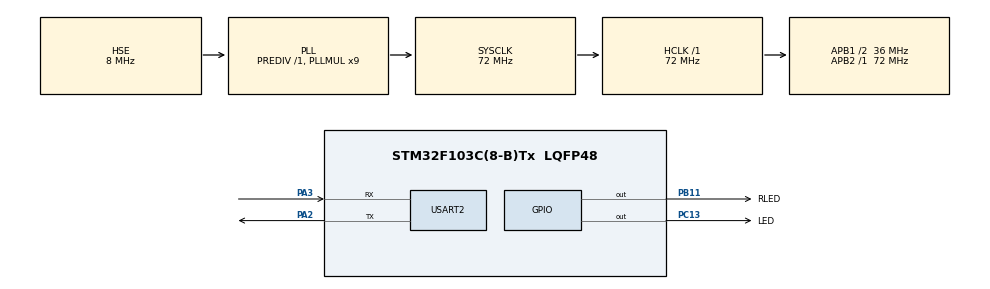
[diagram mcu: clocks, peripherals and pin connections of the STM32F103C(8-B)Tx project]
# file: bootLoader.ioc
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Dma.Request0=USART2_RX
Dma.USART2_RX.0.Direction=DMA_PERIPH_TO_MEMORY
Dma.USART2_RX.0.Instance=DMA1_Channel6
Dma.USART2_RX.0.MemDataAlignment=DMA_MDATAALIGN_BYTE
Dma.USART2_RX.0.MemInc=DMA_MINC_ENABLE
Dma.USART2_RX.0.Mode=DMA_NORMAL
Dma.USART2_RX.0.PeriphDataAlignment=DMA_PDATAALIGN_BYTE
Dma.USART2_RX.0.PeriphInc=DMA_PINC_DISABLE
Dma.USART2_RX.0.Priority=DMA_PRIORITY_LOW
IWDG.Prescaler=IWDG_PRESCALER_256
IWDG.Reload=156
Mcu.Family=STM32F1
Mcu.Name=STM32F103C(8-B)Tx
Mcu.Package=LQFP48
NVIC.DMA1_Channel6_IRQn=true\:0\:0\:false\:false\:true\:false\:true\:true
NVIC.PriorityGroup=NVIC_PRIORITYGROUP_4
NVIC.USART2_IRQn=true\:0\:0\:false\:false\:true\:true\:true\:true
PA13.Mode=Serial_Wire
PA13.Signal=SYS_JTMS-SWDIO
PA14.Mode=Serial_Wire
PA14.Signal=SYS_JTCK-SWCLK
PA2.Mode=Asynchronous
PA2.Signal=USART2_TX
PA3.Mode=Asynchronous
PA3.Signal=USART2_RX
PB11.GPIO_Label=RLED
PB11.Signal=GPIO_Output
PC13-TAMPER-RTC.GPIO_Label=LED
PC13-TAMPER-RTC.Signal=GPIO_Output
PD0-OSC_IN.Mode=HSE-External-Oscillator
PD0-OSC_IN.Signal=RCC_OSC_IN
PD1-OSC_OUT.Mode=HSE-External-Oscillator
PD1-OSC_OUT.Signal=RCC_OSC_OUT
ProjectManager.HeapSize=0x200
ProjectManager.StackSize=0x400
ProjectManager.TargetToolchain=EWARM V8.32
RCC.AHBFreq_Value=72000000
RCC.APB1CLKDivider=RCC_HCLK_DIV2
RCC.APB1Freq_Value=36000000
RCC.APB1TimFreq_Value=72000000
RCC.APB2Freq_Value=72000000
RCC.APB2TimFreq_Value=72000000
RCC.HCLKFreq_Value=72000000
RCC.PLLMUL=RCC_PLL_MUL9
RCC.PLLSourceVirtual=RCC_PLLSOURCE_HSE
RCC.SYSCLKFreq_VALUE=72000000
RCC.SYSCLKSource=RCC_SYSCLKSOURCE_PLLCLK
RCC.USBFreq_Value=72000000
USART2.VirtualMode=VM_ASYNC
VP_CRC_VS_CRC.Mode=CRC_Activate
VP_IWDG_VS_IWDG.Mode=IWDG_Activate
board=custom

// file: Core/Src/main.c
/* USER CODE BEGIN Header */
/**
******************************************************************************
* @file           : main.c
* @brief          : Main program body
******************************************************************************
* @attention
*
* Copyright (c) 2022 STMicroelectronics.
* All rights reserved.
*
* This software is licensed under terms that can be found in the LICENSE file
* in the root directory of this software component.
* If no LICENSE file comes with this software, it is provided AS-IS.
*
******************************************************************************
*/
/* USER CODE END Header */
#include "main.h"
#include "crc.h"
#include "dma.h"
#include "iwdg.h"
#include "usart.h"
#include "gpio.h"

/* USER CODE BEGIN Includes */
#include <bootLoader.h>

#define FLASH_START_ADDRESS 0x08000000U
#define APPLICATION_START_ADDRESS 0x08008000U//0x08008000U
#define APPLICATION_VTOR_OFFSET 0x8000U
/* USER CODE END Includes */

/* USER CODE BEGIN PTD */
uint8_t check1 = 0x00U;
uint8_t check2 = 0x00U;
uint8_t check3 = 0x00U;
uint8_t check4 = 0x00U;
/* USER CODE END PTD */

void SystemClock_Config(void);

/* USER CODE BEGIN 0 */
void jumpToApplcation(void)
{
  //__disable_irq();
  // pointer function to call bootLoader Reset Handler
  void(*applicationResetHandler)(void);
  //reading MSP value of bootLoader Application in start Address of Boot loader App
  //boot loader start at 0x0800,0000U
  uint32_t mspValue = *(volatile uint32_t*)APPLICATION_START_ADDRESS;
  // Seting the MSP
  __set_SP(mspValue);
  // Change the Vector Table Offcest to Application Vector Table
  SCB->VTOR = FLASH_START_ADDRESS | APPLICATION_VTOR_OFFSET;

  // jumping to the reset handeler of the user application
  // now fetch the reset handler address of the user apllication form the
  // location APPLICATION_START_ADDRESS + 4
  uint32_t resetHandlerAddress = *(volatile uint32_t*)(APPLICATION_START_ADDRESS + 0x00000004U);
  applicationResetHandler = (void(*)(void)) resetHandlerAddress;
  applicationResetHandler();
}
/* USER CODE END 0 */

int main(void)
{
  /* USER CODE BEGIN 1 */
//  *(volatile uint8_t*)0x20004FFF = 0x20U;
//  *(volatile uint8_t*)0x20004FFE = 0x30U;
//  *(volatile uint8_t*)0x20004FFD = 0x40U;
//  *(volatile uint8_t*)0x20004FFC = 0x50U;

  check1 = *(volatile uint8_t*)0x20004FFF;
  check2 = *(volatile uint8_t*)0x20004FFE;
  check3 = *(volatile uint8_t*)0x20004FFD;
  check4 = *(volatile uint8_t*)0x20004FFC;

  if((check1 == 0x20U) && (check2 == 0x30U) && (check3 == 0x40U) && (check4 == 0x50U))
  {
    __NOP();
  }
  else
  {
    jumpToApplcation();
  }

  /* USER CODE END 1 */

  /* MCU Configuration--------------------------------------------------------*/

  /* Reset of all peripherals, Initializes the Flash interface and the Systick. */
  HAL_Init();

  /* Configure the system clock */
  SystemClock_Config();

  /* Initialize all configured peripherals */
  MX_GPIO_Init();
  MX_DMA_Init();
  MX_CRC_Init();
  MX_USART2_UART_Init();
  MX_IWDG_Init();
  /* USER CODE BEGIN 2 */
  HAL_GPIO_WritePin(LED_GPIO_Port,LED_Pin,GPIO_PIN_RESET);
  HAL_IWDG_Refresh(&hiwdg);
  /* USER CODE END 2 */

  /* Infinite loop */
  /* USER CODE BEGIN WHILE */
  while (1)
  {
    //HAL_UART_Transmit(&huart2,"BootLoader!\r\n",15,1000);
    boot_loader_processing();

    /* USER CODE END WHILE */

  }
}

void SystemClock_Config(void)
{
  RCC_OscInitTypeDef RCC_OscInitStruct = {0};
  RCC_ClkInitTypeDef RCC_ClkInitStruct = {0};

  /** Initializes the RCC Oscillators according to the specified parameters
  * in the RCC_OscInitTypeDef structure.
  */
  RCC_OscInitStruct.OscillatorType = RCC_OSCILLATORTYPE_LSI|RCC_OSCILLATORTYPE_HSE;
  RCC_OscInitStruct.HSEState = RCC_HSE_ON;
  RCC_OscInitStruct.HSEPredivValue = RCC_HSE_PREDIV_DIV1;
  RCC_OscInitStruct.HSIState = RCC_HSI_ON;
  RCC_OscInitStruct.LSIState = RCC_LSI_ON;
  RCC_OscInitStruct.PLL.PLLState = RCC_PLL_ON;
  RCC_OscInitStruct.PLL.PLLSource = RCC_PLLSOURCE_HSE;
  RCC_OscInitStruct.PLL.PLLMUL = RCC_PLL_MUL9;
  if (HAL_RCC_OscConfig(&RCC_OscInitStruct) != HAL_OK)
  {
    Error_Handler();
  }

  /** Initializes the CPU, AHB and APB buses clocks
  */
  RCC_ClkInitStruct.ClockType = RCC_CLOCKTYPE_HCLK|RCC_CLOCKTYPE_SYSCLK
                              |RCC_CLOCKTYPE_PCLK1|RCC_CLOCKTYPE_PCLK2;
  RCC_ClkInitStruct.SYSCLKSource = RCC_SYSCLKSOURCE_PLLCLK;
  RCC_ClkInitStruct.AHBCLKDivider = RCC_SYSCLK_DIV1;
  RCC_ClkInitStruct.APB1CLKDivider = RCC_HCLK_DIV2;
  RCC_ClkInitStruct.APB2CLKDivider = RCC_HCLK_DIV1;

  if (HAL_RCC_ClockConfig(&RCC_ClkInitStruct, FLASH_LATENCY_2) != HAL_OK)
  {
    Error_Handler();
  }
}

void Error_Handler(void)
{
  __disable_irq();
  while (1)
  {
  }
}
